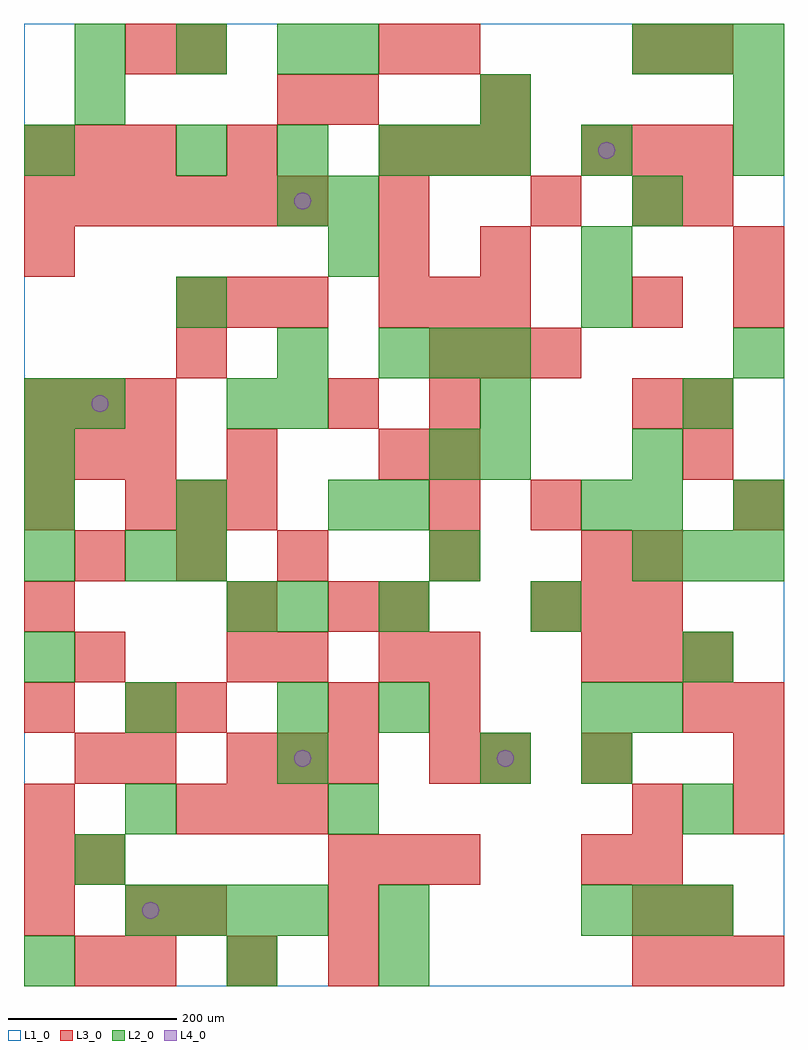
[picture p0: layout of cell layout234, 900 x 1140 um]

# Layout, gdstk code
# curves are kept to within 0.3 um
import gdstk
lib = gdstk.Library(unit=1e-6, precision=1e-09)
def R(c, l, rs):  # rectangles x0, y0, x1, y1
    for r in rs: c.add(gdstk.rectangle(r[:2], r[2:], *l))
def A(c, l, x, y, w, h, nx, ny, dx, dy):  # array of equal rectangles
    R(c, l, [(x+i*dx, y+j*dy, x+i*dx+w, y+j*dy+h) for i in range(nx) for j in range(ny)])
def P(c, l, *ps):  # polygons
    for p in ps: c.add(gdstk.Polygon(p, *l))
L1_0 = (1, 0)
L2_0 = (2, 0)
L3_0 = (3, 0)
L4_0 = (4, 0)

layout234 = lib.new_cell('layout234')
R(layout234, L1_0, [(0,0,900,1140)])
A(layout234, L2_0, 120, 60, 60, 60, 4, 1, 60, 0)
A(layout234, L2_0, 660, 60, 60, 60, 3, 1, 60, 0)
A(layout234, L2_0, 540, 240, 60, 60, 1, 3, 0, 360)
A(layout234, L2_0, 420, 300, 60, 60, 1, 3, 0, 120)
A(layout234, L2_0, 660, 300, 60, 60, 1, 3, 0, 240)
A(layout234, L2_0, 0, 360, 60, 60, 1, 3, 0, 120)
A(layout234, L2_0, 720, 480, 60, 60, 3, 2, 60, 600)
A(layout234, L2_0, 0, 540, 60, 60, 3, 1, 180, 0)
A(layout234, L2_0, 300, 660, 60, 60, 3, 1, 240, 0)
A(layout234, L2_0, 420, 720, 60, 60, 3, 1, 60, 0)
A(layout234, L2_0, 180, 960, 60, 60, 3, 1, 120, 0)
A(layout234, L2_0, 60, 1080, 60, 60, 3, 1, 120, 0)
R(layout234, L2_0, [(0,0,60,60), (240,0,300,60), (420,0,480,60), (420,60,480,120), (60,120,120,180), (120,180,180,240), (360,180,420,240), (780,180,840,240), (300,240,360,300), (660,240,720,300), (120,300,180,360), (300,300,360,360), (720,300,780,360), (780,360,840,420), (240,420,300,480), (300,420,360,480), (600,420,660,480), (120,480,180,540), (180,480,240,540), (480,480,540,540), (720,540,780,600), (840,540,900,600), (480,600,540,660), (720,600,780,660), (0,660,60,720), (60,660,120,720), (240,660,300,720), (300,720,360,780), (840,720,900,780), (180,780,240,840), (360,840,420,900), (660,840,720,900), (300,900,360,960), (360,900,420,960), (720,900,780,960), (0,960,60,1020), (480,960,540,1020), (660,960,720,1020), (840,960,900,1020), (60,1020,120,1080), (540,1020,600,1080), (840,1020,900,1080), (360,1080,420,1140)])
A(layout234, L3_0, 60, 0, 60, 60, 1, 4, 0, 120)
A(layout234, L3_0, 120, 0, 60, 60, 3, 1, 120, 0)
A(layout234, L3_0, 720, 0, 60, 60, 3, 1, 60, 0)
A(layout234, L3_0, 0, 60, 60, 60, 1, 3, 0, 60)
A(layout234, L3_0, 720, 60, 60, 60, 1, 3, 0, 60)
A(layout234, L3_0, 360, 120, 60, 60, 3, 1, 60, 0)
A(layout234, L3_0, 180, 180, 60, 60, 3, 2, 60, 600)
A(layout234, L3_0, 840, 180, 60, 60, 1, 3, 0, 60)
A(layout234, L3_0, 240, 240, 60, 60, 3, 1, 60, 0)
A(layout234, L3_0, 480, 240, 60, 60, 1, 3, 0, 60)
A(layout234, L3_0, 0, 300, 60, 60, 1, 3, 0, 120)
A(layout234, L3_0, 660, 360, 60, 60, 3, 2, 60, 600)
A(layout234, L3_0, 600, 420, 60, 60, 3, 1, 60, 0)
A(layout234, L3_0, 60, 480, 60, 60, 3, 1, 120, 0)
A(layout234, L3_0, 480, 480, 60, 60, 1, 4, 0, 60)
A(layout234, L3_0, 120, 540, 60, 60, 3, 1, 60, 0)
A(layout234, L3_0, 0, 600, 60, 60, 3, 2, 60, 60)
A(layout234, L3_0, 720, 660, 60, 60, 1, 3, 0, 120)
A(layout234, L3_0, 480, 720, 60, 60, 3, 1, 60, 0)
A(layout234, L3_0, 420, 780, 60, 60, 3, 2, 60, 180)
A(layout234, L3_0, 0, 900, 60, 60, 6, 1, 60, 0)
A(layout234, L3_0, 0, 960, 60, 60, 3, 1, 60, 0)
R(layout234, L3_0, [(120,60,180,120), (180,60,240,120), (360,60,420,120), (780,60,840,120), (660,120,720,180), (120,240,180,300), (540,240,600,300), (660,240,720,300), (120,300,180,360), (180,300,240,360), (360,300,420,360), (780,300,840,360), (240,360,300,420), (300,360,360,420), (420,360,480,420), (240,420,300,480), (360,420,420,480), (420,420,480,480), (660,480,720,540), (720,480,780,540), (600,540,660,600), (840,540,900,600), (240,600,300,660), (420,600,480,660), (780,600,840,660), (360,660,420,720), (780,660,840,720), (180,720,240,780), (840,780,900,840), (0,840,60,900), (420,840,480,900), (540,840,600,900), (840,840,900,900), (420,900,480,960), (600,900,660,960), (780,900,840,960), (240,960,300,1020), (300,1020,360,1080), (360,1020,420,1080), (540,1020,600,1080), (120,1080,180,1140), (180,1080,240,1140), (420,1080,480,1140), (480,1080,540,1140), (720,1080,780,1140), (780,1080,840,1140)])
P(layout234, L4_0, [(100,690),(99.239,693.827),(97.071,697.071),(93.827,699.239),(90,700),(86.173,699.239),(82.929,697.071),(80.761,693.827),(80,690),(80.761,686.173),(82.929,682.929),(86.173,680.761),(90,680),(93.827,680.761),(97.071,682.929),(99.239,686.173)],
  [(160,90),(159.239,93.827),(157.071,97.071),(153.827,99.239),(150,100),(146.173,99.239),(142.929,97.071),(140.761,93.827),(140,90),(140.761,86.173),(142.929,82.929),(146.173,80.761),(150,80),(153.827,80.761),(157.071,82.929),(159.239,86.173)],
  [(340,270),(339.239,273.827),(337.071,277.071),(333.827,279.239),(330,280),(326.173,279.239),(322.929,277.071),(320.761,273.827),(320,270),(320.761,266.173),(322.929,262.929),(326.173,260.761),(330,260),(333.827,260.761),(337.071,262.929),(339.239,266.173)],
  [(340,930),(339.239,933.827),(337.071,937.071),(333.827,939.239),(330,940),(326.173,939.239),(322.929,937.071),(320.761,933.827),(320,930),(320.761,926.173),(322.929,922.929),(326.173,920.761),(330,920),(333.827,920.761),(337.071,922.929),(339.239,926.173)],
  [(580,270),(579.239,273.827),(577.071,277.071),(573.827,279.239),(570,280),(566.173,279.239),(562.929,277.071),(560.761,273.827),(560,270),(560.761,266.173),(562.929,262.929),(566.173,260.761),(570,260),(573.827,260.761),(577.071,262.929),(579.239,266.173)],
  [(700,990),(699.239,993.827),(697.071,997.071),(693.827,999.239),(690,1000),(686.173,999.239),(682.929,997.071),(680.761,993.827),(680,990),(680.761,986.173),(682.929,982.929),(686.173,980.761),(690,980),(693.827,980.761),(697.071,982.929),(699.239,986.173)])

lib.write_gds('layout234.gds')
